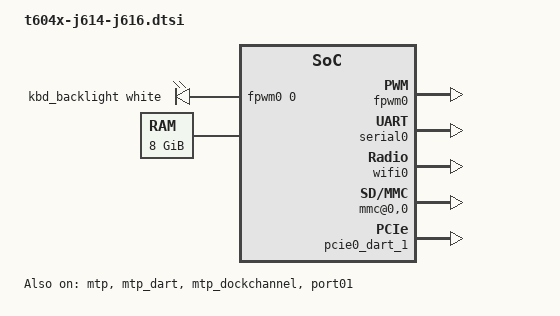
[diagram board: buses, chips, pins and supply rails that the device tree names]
// SPDX-License-Identifier: GPL-2.0+ OR MIT
/*
 * MacBook Pro (14/16-inch, 2024)
 *
 * This file contains the parts common to J614 and J616 devices with both
 * M4 Pro and M4 Max.
 *
 * target-type: J614s / J614c / J616s / J616c
 *
 * Copyright The Asahi Linux Contributors
 */

#include <dt-bindings/leds/common.h>

/ {
	chassis-type = "laptop";

	aliases {
		keyboard = &keyboard;
		serial0 = &serial0;
	};

	chosen {
		ranges;
		#address-cells = <2>;
		#size-cells = <2>;

		stdout-path = "serial0";

		framebuffer0: framebuffer@0 {
			compatible = "apple,simple-framebuffer",
			             "simple-framebuffer";
			reg = <0 0 0 0>; /* To be filled by loader */
			power-domains = <&ps_disp_fe>;
			/* Format properties will be added by loader */

			status = "disabled";
		};
	};

	led-controller {
		compatible = "pwm-leds";

		led-0 {
			color = <LED_COLOR_ID_WHITE>;
			default-state = "keep";
			function = LED_FUNCTION_KBD_BACKLIGHT;
			label = "kbd_backlight";
			max-brightness = <255>;
			pwms = <&fpwm0 0 40000>;
		};
	};

	memory@10000000000 {
		device_type = "memory";
		reg = <0x100 0 0x2 0>; /* To be filled by loader */
	};
};

&fpwm0 {
	status = "okay";
};

&mtp {
	status = "okay";
};

&mtp_mbox {
	status = "okay";
};

&mtp_dart {
	status = "okay";
};

&mtp_dockchannel {
	status = "okay";
};

&mtp_hid {
	//apple,afe-reset-gpios = <&smc_gpio_low 25 GPIO_ACTIVE_LOW>;
	//apple,stm-reset-gpios = <&smc_gpio_low 26 GPIO_ACTIVE_LOW>;

	keyboard: keyboard {
		hid-country-code = <0>;
		apple,keyboard-layout-id = <0>;
	};

	stm {
	};
};

&serial0 {
	status = "okay";
};

/*
 * Force the bus number assignments so that we can declare some of the
 * on-board devices and properties that are populated by the bootloader
 * (such as MAC addresses).
 */
&port00 {
	bus-range = <1 1>;

	wifi0: wifi@0,0 {
		compatible = "pci14e4,4434";
		reg = <0x10000 0x0 0x0 0x0 0x0>;
		/* To be filled by the loader */
		local-mac-address = [00 00 00 00 00 00];
		apple,antenna-sku = "XX";
	};

	bluetooth0: bluetooth@0,1 {
		compatible = "pci14e4,5f72";
		reg = <0x10100 0x0 0x0 0x0 0x0>;
		/* To be filled by the loader */
		local-bd-address = [00 00 00 00 00 00];
	};
};

&port01 {
	bus-range = <2 2>;

	status = "okay";

	mmc@0,0 {
		compatible = "pci17a0,9755";
		reg = <0x20000 0x0 0x0 0x0 0x0>;
		cd-inverted;
		wp-inverted;
	};
};

&pcie0_dart_1 {
	status = "okay";
};
